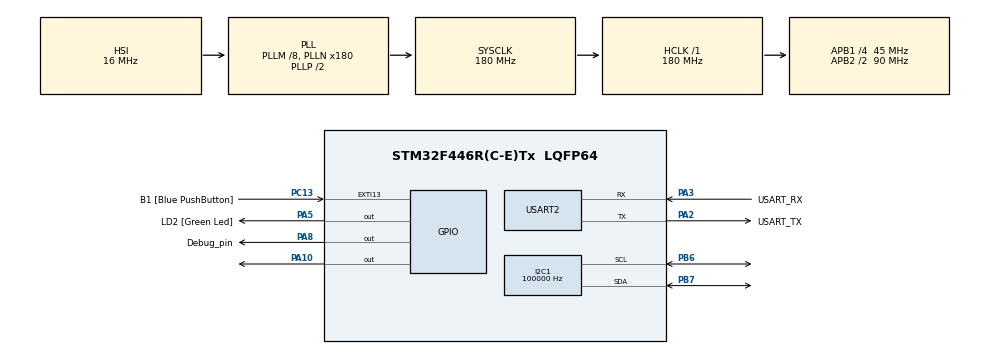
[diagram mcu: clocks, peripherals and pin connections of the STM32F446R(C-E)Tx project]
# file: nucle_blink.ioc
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I2C1.ClockSpeed=100000
Mcu.Family=STM32F4
Mcu.Name=STM32F446R(C-E)Tx
Mcu.Package=LQFP64
NVIC.EXTI15_10_IRQn=true\:0\:0\:false\:false\:true\:true\:true\:true
NVIC.I2C1_ER_IRQn=true\:0\:0\:false\:false\:true\:true\:true\:true
NVIC.I2C1_EV_IRQn=true\:0\:0\:false\:false\:true\:true\:true\:true
NVIC.PriorityGroup=NVIC_PRIORITYGROUP_0
PA10.Signal=GPIO_Output
PA13.GPIO_Label=TMS
PA13.Mode=Serial_Wire
PA13.Signal=SYS_JTMS-SWDIO
PA14.GPIO_Label=TCK
PA14.Mode=Serial_Wire
PA14.Signal=SYS_JTCK-SWCLK
PA2.GPIO_Label=USART_TX
PA2.Mode=Asynchronous
PA2.Signal=USART2_TX
PA3.GPIO_Label=USART_RX
PA3.Mode=Asynchronous
PA3.Signal=USART2_RX
PA5.GPIO_Label=LD2 [Green Led]
PA5.Signal=GPIO_Output
PA8.GPIO_Label=Debug_pin
PA8.Signal=GPIO_Output
PB3.GPIO_Label=SWO
PB3.Signal=SYS_JTDO-SWO
PB6.Mode=I2C
PB6.Signal=I2C1_SCL
PB7.Mode=I2C
PB7.Signal=I2C1_SDA
PC13.GPIO_Label=B1 [Blue PushButton]
PC13.GPIO_ModeDefaultEXTI=GPIO_MODE_IT_FALLING
PC13.GPIO_ModeDefaultEXTI=GPIO_MODE_IT_RISING_FALLING
PC13.Signal=GPXTI13
PC14-OSC32_IN.Mode=LSE-External-Oscillator
PC14-OSC32_IN.Signal=RCC_OSC32_IN
PC15-OSC32_OUT.Mode=LSE-External-Oscillator
PC15-OSC32_OUT.Signal=RCC_OSC32_OUT
PH0-OSC_IN.Mode=HSE-External-Oscillator
PH0-OSC_IN.Signal=RCC_OSC_IN
PH1-OSC_OUT.Mode=HSE-External-Oscillator
PH1-OSC_OUT.Signal=RCC_OSC_OUT
ProjectManager.HeapSize=0x200
ProjectManager.StackSize=0x400
ProjectManager.TargetToolchain=STM32CubeIDE
RCC.48MHZClocksFreq_Value=84000000
RCC.AHBFreq_Value=180000000
RCC.APB1CLKDivider=RCC_HCLK_DIV4
RCC.APB1Freq_Value=45000000
RCC.APB1TimFreq_Value=90000000
RCC.APB2CLKDivider=RCC_HCLK_DIV2
RCC.APB2Freq_Value=90000000
RCC.APB2TimFreq_Value=180000000
RCC.CortexFreq_Value=180000000
RCC.FLatency-AdvancedSettings=FLASH_LATENCY_5
RCC.HCLKFreq_Value=180000000
RCC.HSE_VALUE=8000000
RCC.HSI_VALUE=16000000
RCC.PLLM=8
RCC.PLLN=180
RCC.SYSCLKFreq_VALUE=180000000
RCC.SYSCLKSource=RCC_SYSCLKSOURCE_PLLCLK
RCC.USBFreq_Value=180000000
RCC.VCOOutputFreq_Value=360000000
USART2.VirtualMode=VM_ASYNC
board=NUCLEO-F446RE

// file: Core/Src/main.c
/* USER CODE BEGIN Header */
/**
  ******************************************************************************
  * @file           : main.c
  * @brief          : Main program body
  ******************************************************************************
  * @attention
  *
  * Copyright (c) 2026 STMicroelectronics.
  * All rights reserved.
  *
  * This software is licensed under terms that can be found in the LICENSE file
  * in the root directory of this software component.
  * If no LICENSE file comes with this software, it is provided AS-IS.
  *
  ******************************************************************************
  */
/* USER CODE END Header */
#include "main.h"

/* USER CODE BEGIN Includes */
#include <stdbool.h>
/* USER CODE END Includes */

I2C_HandleTypeDef hi2c1;

UART_HandleTypeDef huart2;

/* USER CODE BEGIN PV */
static volatile bool isClickedBtn = false;
/* USER CODE END PV */

void SystemClock_Config(void);
static void MX_GPIO_Init(void);
static void MX_USART2_UART_Init(void);
static void MX_I2C1_Init(void);

int main(void)
{

  /* MCU Configuration--------------------------------------------------------*/

  /* Reset of all peripherals, Initializes the Flash interface and the Systick. */
  HAL_Init();

  /* USER CODE BEGIN Init */
//  static uint8_t counter = 0;
//  volatile uint8_t stackCounter = 0;
  /* USER CODE END Init */

  /* Configure the system clock */
  SystemClock_Config();

  /* Initialize all configured peripherals */
  MX_GPIO_Init();
  MX_USART2_UART_Init();
  MX_I2C1_Init();

  /* Infinite loop */
  /* USER CODE BEGIN WHILE */
  while (1)
  {
	  uint8_t rx_data[100];
	  for (int i = 0; i < (sizeof(rx_data) / 2); i++) {
		  rx_data[i] = i;
	  }
	HAL_I2C_Mem_Write(&hi2c1, 0x50 << 1, 0x0000, I2C_MEMADD_SIZE_16BIT, rx_data, sizeof(rx_data) / 2, 1000);
	HAL_Delay(5);
	for (int i = 50; i < sizeof(rx_data); i++) {
		  rx_data[i] = i;
	  }
	HAL_I2C_Mem_Write(&hi2c1, 0x50 << 1, 0x0040, I2C_MEMADD_SIZE_16BIT, &rx_data[50], sizeof(rx_data) / 2, 1000);
	HAL_Delay(5);
	HAL_I2C_Mem_Read(&hi2c1, 0x50 << 1, 0x0000, I2C_MEMADD_SIZE_16BIT, rx_data, sizeof(rx_data) / 2, 1000);
	HAL_I2C_Mem_Read(&hi2c1, 0x50 << 1, 0x0040, I2C_MEMADD_SIZE_16BIT, &rx_data[50], sizeof(rx_data) / 2, 1000);
	//HAL_I2C_Master_Receive(&hi2c1, (0x50 << 1), rx_data, sizeof(rx_data), 1000);
	HAL_Delay(100);

    /* USER CODE END WHILE */

  }
}

void SystemClock_Config(void)
{
  RCC_OscInitTypeDef RCC_OscInitStruct = {0};
  RCC_ClkInitTypeDef RCC_ClkInitStruct = {0};

  /** Configure the main internal regulator output voltage
  */
  __HAL_RCC_PWR_CLK_ENABLE();
  __HAL_PWR_VOLTAGESCALING_CONFIG(PWR_REGULATOR_VOLTAGE_SCALE1);

  /** Initializes the RCC Oscillators according to the specified parameters
  * in the RCC_OscInitTypeDef structure.
  */
  RCC_OscInitStruct.OscillatorType = RCC_OSCILLATORTYPE_HSI;
  RCC_OscInitStruct.HSIState = RCC_HSI_ON;
  RCC_OscInitStruct.HSICalibrationValue = RCC_HSICALIBRATION_DEFAULT;
  RCC_OscInitStruct.PLL.PLLState = RCC_PLL_ON;
  RCC_OscInitStruct.PLL.PLLSource = RCC_PLLSOURCE_HSI;
  RCC_OscInitStruct.PLL.PLLM = 8;
  RCC_OscInitStruct.PLL.PLLN = 180;
  RCC_OscInitStruct.PLL.PLLP = RCC_PLLP_DIV2;
  RCC_OscInitStruct.PLL.PLLQ = 2;
  RCC_OscInitStruct.PLL.PLLR = 2;
  if (HAL_RCC_OscConfig(&RCC_OscInitStruct) != HAL_OK)
  {
    Error_Handler();
  }

  /** Activate the Over-Drive mode
  */
  if (HAL_PWREx_EnableOverDrive() != HAL_OK)
  {
    Error_Handler();
  }

  /** Initializes the CPU, AHB and APB buses clocks
  */
  RCC_ClkInitStruct.ClockType = RCC_CLOCKTYPE_HCLK|RCC_CLOCKTYPE_SYSCLK
                              |RCC_CLOCKTYPE_PCLK1|RCC_CLOCKTYPE_PCLK2;
  RCC_ClkInitStruct.SYSCLKSource = RCC_SYSCLKSOURCE_PLLCLK;
  RCC_ClkInitStruct.AHBCLKDivider = RCC_SYSCLK_DIV1;
  RCC_ClkInitStruct.APB1CLKDivider = RCC_HCLK_DIV4;
  RCC_ClkInitStruct.APB2CLKDivider = RCC_HCLK_DIV2;

  if (HAL_RCC_ClockConfig(&RCC_ClkInitStruct, FLASH_LATENCY_5) != HAL_OK)
  {
    Error_Handler();
  }
}

static void MX_I2C1_Init(void)
{

  hi2c1.Instance = I2C1;
  hi2c1.Init.ClockSpeed = 100000;
  hi2c1.Init.DutyCycle = I2C_DUTYCYCLE_2;
  hi2c1.Init.OwnAddress1 = 0;
  hi2c1.Init.AddressingMode = I2C_ADDRESSINGMODE_7BIT;
  hi2c1.Init.DualAddressMode = I2C_DUALADDRESS_DISABLE;
  hi2c1.Init.OwnAddress2 = 0;
  hi2c1.Init.GeneralCallMode = I2C_GENERALCALL_DISABLE;
  hi2c1.Init.NoStretchMode = I2C_NOSTRETCH_DISABLE;
  if (HAL_I2C_Init(&hi2c1) != HAL_OK)
  {
    Error_Handler();
  }

}

static void MX_USART2_UART_Init(void)
{

  huart2.Instance = USART2;
  huart2.Init.BaudRate = 115200;
  huart2.Init.WordLength = UART_WORDLENGTH_8B;
  huart2.Init.StopBits = UART_STOPBITS_1;
  huart2.Init.Parity = UART_PARITY_NONE;
  huart2.Init.Mode = UART_MODE_TX_RX;
  huart2.Init.HwFlowCtl = UART_HWCONTROL_NONE;
  huart2.Init.OverSampling = UART_OVERSAMPLING_16;
  if (HAL_UART_Init(&huart2) != HAL_OK)
  {
    Error_Handler();
  }

}

static void MX_GPIO_Init(void)
{
  GPIO_InitTypeDef GPIO_InitStruct = {0};

  /* GPIO Ports Clock Enable */
  __HAL_RCC_GPIOC_CLK_ENABLE();
  __HAL_RCC_GPIOH_CLK_ENABLE();
  __HAL_RCC_GPIOA_CLK_ENABLE();
  __HAL_RCC_GPIOB_CLK_ENABLE();

  /*Configure GPIO pin Output Level */
  HAL_GPIO_WritePin(GPIOA, LD2_Pin|Debug_pin_Pin|GPIO_PIN_10, GPIO_PIN_RESET);

  /*Configure GPIO pin : PC13 */
  GPIO_InitStruct.Pin = GPIO_PIN_13;
  GPIO_InitStruct.Mode = GPIO_MODE_IT_RISING_FALLING;
  GPIO_InitStruct.Pull = GPIO_NOPULL;
  HAL_GPIO_Init(GPIOC, &GPIO_InitStruct);

  /*Configure GPIO pins : LD2_Pin Debug_pin_Pin PA10 */
  GPIO_InitStruct.Pin = LD2_Pin|Debug_pin_Pin|GPIO_PIN_10;
  GPIO_InitStruct.Mode = GPIO_MODE_OUTPUT_PP;
  GPIO_InitStruct.Pull = GPIO_NOPULL;
  GPIO_InitStruct.Speed = GPIO_SPEED_FREQ_LOW;
  HAL_GPIO_Init(GPIOA, &GPIO_InitStruct);

  /* EXTI interrupt init*/
  HAL_NVIC_SetPriority(EXTI15_10_IRQn, 0, 0);
  HAL_NVIC_EnableIRQ(EXTI15_10_IRQn);

}

/* USER CODE BEGIN 4 */
void HAL_GPIO_EXTI_Callback(uint16_t GPIO_PIN) {
	if (GPIO_PIN_13 == GPIO_PIN) {
		if (GPIO_PIN_RESET == HAL_GPIO_ReadPin(GPIOC, GPIO_PIN_13)) {
			isClickedBtn = true;
		}
	}
}
/* USER CODE END 4 */

void Error_Handler(void)
{
  __disable_irq();
  while (1)
  {
  }
}
